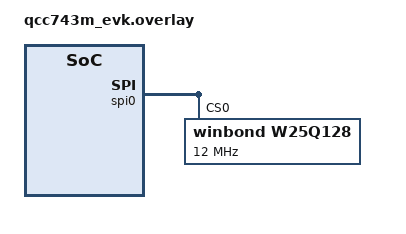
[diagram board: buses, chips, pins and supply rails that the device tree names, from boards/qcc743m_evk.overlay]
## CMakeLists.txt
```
# Copyright (c) 2026 Qualcomm Technologies, Inc. and/or its subsidiaries
# SPDX-License-Identifier: BSD-3-Clause

cmake_minimum_required(VERSION 3.20.0)
find_package(Zephyr REQUIRED HINTS $ENV{ZEPHYR_BASE})
project(test_spi_nor)
target_sources(app PRIVATE src/main.c)
```

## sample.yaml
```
# Copyright (c) 2026 Qualcomm Technologies, Inc. and/or its subsidiaries
# SPDX-License-Identifier: BSD-3-Clause

tests:
  qcc7xx.sample.drivers.nor.spi:
    build_only: true
    platform_allow:
      - qcc743m_evk
      - qcc744m_evk
      - qcc748m_evk
      - qcc75xm_evk
```

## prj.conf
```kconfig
# Copyright (c) 2026 Qualcomm Technologies, Inc. and/or its subsidiaries
# SPDX-License-Identifier: BSD-3-Clause

# Enable subsystems
CONFIG_SPI=y
CONFIG_SPI_NOR=y
CONFIG_FLASH=y

# Enable logging
CONFIG_LOG=y
CONFIG_CBPRINTF_FP_SUPPORT=y
CONFIG_LOG_MODE_IMMEDIATE=y
CONFIG_LOG_MODE_MINIMAL=y

# debug components
CONFIG_FLASH_LOG_LEVEL_DBG=y
#CONFIG_SPI_LOG_LEVEL_DBG=y
#CONFIG_FLASH_LOG_LEVEL_WRN=y
CONFIG_SPI_LOG_LEVEL_WRN=y

# Support for flash erase/write APIs
CONFIG_FLASH_PAGE_LAYOUT=y
CONFIG_FLASH_MAP=y
```

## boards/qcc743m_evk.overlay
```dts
/*
 * Copyright (c) 2026 Qualcomm Technologies, Inc. and/or its subsidiaries
 *
 * SPDX-License-Identifier: BSD-3-Clause
 */

/ {
	aliases {
    	spi-flash0 = &w25q128;
	};
};

&pinctrl {
	status = "okay";
	spi0_default: spi0_default {
		group1 {
			pinmux = <GPIO29_SPI_SCLK>,
				<GPIO30_SPI_MISO>,
				<GPIO27_SPI_MOSI>,
				<GPIO28_SPI_SS>;
			bias-pull-up;
			drive-strength = <2>;
			input-schmitt-enable;
			input-enable;
		};
	};
};

&spi0 {
	status = "okay";
	pinctrl-0 = <&spi0_default>;
	pinctrl-names = "default";

	w25q128: w25q128@0 {
		compatible = "winbond,w25q128", "jedec,spi-nor";
		reg = <0>;
		spi-max-frequency = <12000000>;
		size = <0x1000000>;		/* w25q128, 16MB (128Mbit) */
		page-size = <256>;		/* 256-byte write page */
		jedec-id = [ef 40 18];		/* w25q128 */
	};
};
```

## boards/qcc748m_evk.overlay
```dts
/*
 * Copyright (c) 2026 Qualcomm Technologies, Inc. and/or its subsidiaries
 *
 * SPDX-License-Identifier: BSD-3-Clause
 */

/ {
	aliases {
    	spi-flash0 = &w25q128;
	};
};

&pinctrl {
	status = "okay";
	spi0_default: spi0_default {
		group1 {
			pinmux = <GPIO25_SPI_SCLK>,
				<GPIO26_SPI_MISO>,
				<GPIO23_SPI_MOSI>,
				<GPIO24_SPI_SS>;
			bias-pull-up;
			drive-strength = <2>;
			input-schmitt-enable;
			input-enable;
		};
	};
};

&spi0 {
	status = "okay";
	pinctrl-0 = <&spi0_default>;
	pinctrl-names = "default";

	w25q128: w25q128@0 {
		compatible = "winbond,w25q128", "jedec,spi-nor";
		reg = <0>;
		spi-max-frequency = <12000000>;
		size = <0x1000000>;		/* w25q128, 16MB (128Mbit) */
		page-size = <256>;		/* 256-byte write page */
		jedec-id = [ef 40 18];		/* w25q128 */
	};
};
```

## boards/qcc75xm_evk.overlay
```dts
/*
 * Copyright (c) 2026 Qualcomm Technologies, Inc. and/or its subsidiaries
 *
 * SPDX-License-Identifier: BSD-3-Clause
 */

/ {
	aliases {
    	spi-flash0 = &w25q128;
	};
};

&pinctrl {
	status = "okay";
	spi0_default: spi0_default {
		group1 {
			pinmux = <GPIO17_SPI0_SCLK>,
				<GPIO18_SPI0_MISO>,
				<GPIO19_SPI0_MOSI>,
				<GPIO16_SPI0_SS>;
			bias-pull-up;
			drive-strength = <2>;
			input-schmitt-enable;
			input-enable;
		};
	};
};

&spi0 {
	status = "okay";
	pinctrl-0 = <&spi0_default>;
	pinctrl-names = "default";

	w25q128: w25q128@0 {
		compatible = "winbond,w25q128", "jedec,spi-nor";
		reg = <0>;
		spi-max-frequency = <12000000>;
		size = <0x1000000>;		/* w25q128, 16MB (128Mbit) */
		page-size = <256>;		/* 256-byte write page */
		jedec-id = [ef 40 18];		/* w25q128 */
	};
};
```

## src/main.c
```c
/*
 * Copyright (c) 2026 Qualcomm Technologies, Inc. and/or its subsidiaries
 * SPDX-License-Identifier: Apache-2.0
 */

#include <zephyr/kernel.h>
#include <zephyr/device.h>
#include <zephyr/drivers/flash.h>
#include <zephyr/logging/log.h>

LOG_MODULE_REGISTER(w25q128_test, LOG_LEVEL_INF);

#define BUF_SIZE                     256
#define SPI_FLASH_TEST_REGION_OFFSET 0x00000
#define SPI_FLASH_SECTOR_SIZE        4096 /* W25Q128 sector size is 4KB */

static uint8_t __attribute((aligned(32))) write_buf[BUF_SIZE];
static uint8_t __attribute((aligned(32))) read_buf[BUF_SIZE];

int main(void)
{
	LOG_INF("Starting SPI NOR memory write, read, verify example.");

	/* Get the flash device (assuming 'spi-flash0' alias for W25Q128) */
	const struct device *const flash_dev = DEVICE_DT_GET(DT_ALIAS(spi_flash0));

	if (!device_is_ready(flash_dev)) {
		LOG_ERR("Flash device %s not ready", flash_dev->name);
		return 0;
	}

	/* Detect flash size */
	struct flash_pages_info page_info;
	size_t size = 0;
	int ret = flash_get_page_info_by_offs(flash_dev, 0, &page_info);
	if (ret == 0) {
		size = page_info.size * flash_get_page_count(flash_dev);
		LOG_INF("Detected flash size: %zu bytes", size);
	} else {
		LOG_ERR("Failed to get flash size: %d", ret);
		return 0;
	}

	/* Limit test area */
	//size = 2 * SPI_FLASH_SECTOR_SIZE; // Temporary

	off_t offset = SPI_FLASH_TEST_REGION_OFFSET;

	/* Erase the required sectors before writing (W25Q128 requires erase) */
	LOG_INF("Starting erase operation...");
	size_t sectors_to_erase = (size + SPI_FLASH_SECTOR_SIZE - 1) / SPI_FLASH_SECTOR_SIZE;
	for (size_t i = 0; i < sectors_to_erase; i++) {
		ret = flash_erase(flash_dev, offset + (i * SPI_FLASH_SECTOR_SIZE),
				  SPI_FLASH_SECTOR_SIZE);
		if (ret != 0) {
			LOG_ERR("Flash erase failed at offset %ld: error %d",
				offset + (i * SPI_FLASH_SECTOR_SIZE), ret);
			return 0;
		}
	}
	LOG_INF("Erase operation complete.");

	/* Write data to flash in 64-byte chunks with a repeating pattern (0-255) */
	LOG_INF("Starting write operation...");
	offset = SPI_FLASH_TEST_REGION_OFFSET;
	while (offset < size) {
		size_t chunk_size = MIN(BUF_SIZE, size - offset);

		/* Fill write buffer with pattern based on offset */
		for (size_t i = 0; i < chunk_size; i++) {
			write_buf[i] = (uint8_t)((offset + i) % 256);
		}

		ret = flash_write(flash_dev, offset, write_buf, chunk_size);
		if (ret != 0) {
			LOG_ERR("Write failed at offset %ld: error %d", offset, ret);
			return 0;
		}

		offset += chunk_size;
	}

	LOG_INF("Write operation complete.");

	/* Read back and verify the data in 64-byte chunks */
	LOG_INF("Starting read and verify operation...");
	offset = SPI_FLASH_TEST_REGION_OFFSET;
	while (offset < size) {
		size_t chunk_size = MIN(BUF_SIZE, size - offset);

		ret = flash_read(flash_dev, offset, read_buf, chunk_size);
		if (ret != 0) {
			LOG_ERR("Read failed at offset %ld: error %d", offset, ret);
			return 0;
		}

		/* Verify the read data matches the written pattern */
		for (size_t i = 0; i < chunk_size; i++) {
			uint8_t expected = (uint8_t)((offset + i) % 256);
			if (read_buf[i] != expected) {
				LOG_ERR("Verification failed at address %ld: expected %u, got %u",
					offset + i, expected, read_buf[i]);
				return 0;
			}
		}

		offset += chunk_size;
	}

	LOG_INF("Read and verify operation successful. All data matches.");

	return 0;
}
```
